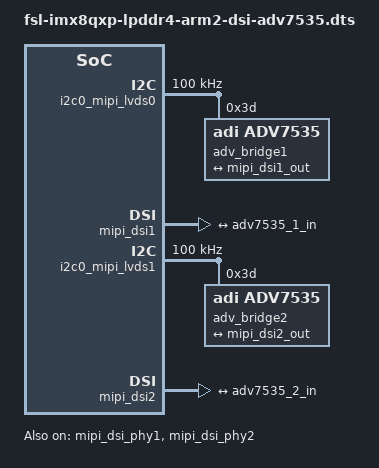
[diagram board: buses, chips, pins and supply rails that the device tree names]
/*
 * Copyright 2017 NXP
 *
 * This program is free software; you can redistribute it and/or
 * modify it under the terms of the GNU General Public License
 * as published by the Free Software Foundation; either version 2
 * of the License, or (at your option) any later version.
 *
 * This program is distributed in the hope that it will be useful,
 * but WITHOUT ANY WARRANTY; without even the implied warranty of
 * MERCHANTABILITY or FITNESS FOR A PARTICULAR PURPOSE.  See the
 * GNU General Public License for more details.
 */

#include "fsl-imx8qxp-lpddr4-arm2.dts"

&i2c0_mipi_lvds0 {
	#address-cells = <1>;
	#size-cells = <0>;
	pinctrl-names = "default";
	pinctrl-0 = <&pinctrl_i2c0_mipi_lvds0>;
	clock-frequency = <100000>;
	status = "okay";

	adv_bridge1: adv7535@3d {
		compatible = "adi,adv7535", "adi,adv7533";
		reg = <0x3d>;
		adi,dsi-lanes = <4>;
		status = "okay";

		port {
			adv7535_1_in: endpoint {
				remote-endpoint = <&mipi_dsi1_out>;
			};
		};
	};
};

&mipi_dsi_phy1 {
	status = "okay";
};

&mipi_dsi1 {
	status = "okay";

	port@1 {
		mipi_dsi1_out: endpoint {
			remote-endpoint = <&adv7535_1_in>;
		};
	};
};

&i2c0_mipi_lvds1 {
	#address-cells = <1>;
	#size-cells = <0>;
	pinctrl-names = "default";
	pinctrl-0 = <&pinctrl_i2c0_mipi_lvds1>;
	clock-frequency = <100000>;
	status = "okay";

	adv_bridge2: adv7535@3d {
		compatible = "adi,adv7535", "adi,adv7533";
		reg = <0x3d>;
		adi,dsi-lanes = <4>;
		status = "okay";

		port {
			adv7535_2_in: endpoint {
				remote-endpoint = <&mipi_dsi2_out>;
			};
		};
	};
};

&mipi_dsi_phy2 {
	status = "okay";
};

&mipi_dsi2 {
	status = "okay";

	port@1 {
		mipi_dsi2_out: endpoint {
			remote-endpoint = <&adv7535_2_in>;
		};
	};
};
